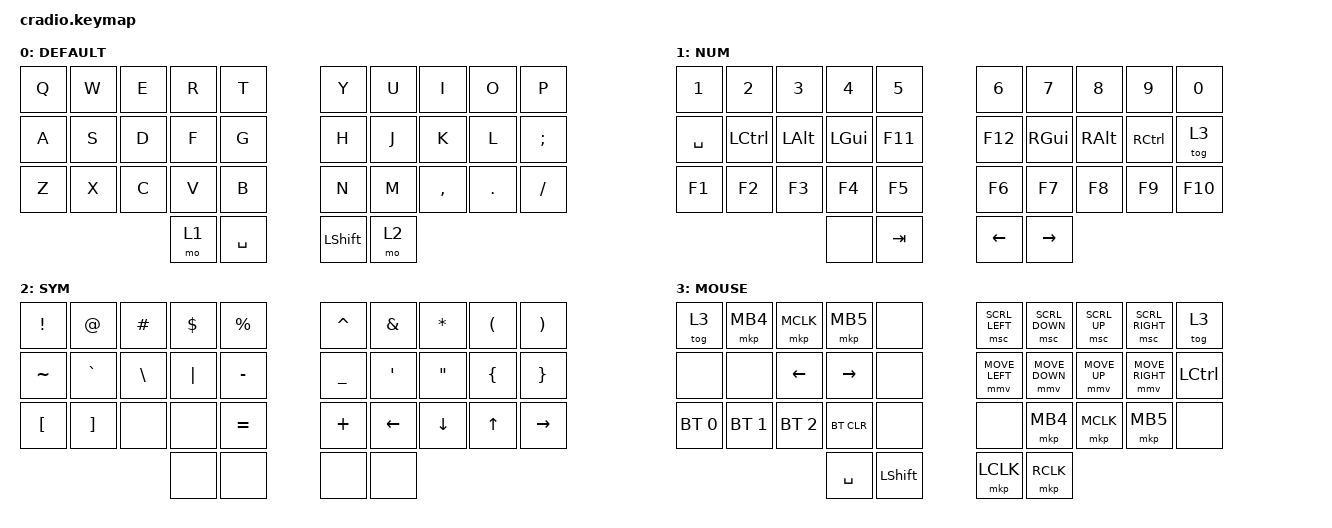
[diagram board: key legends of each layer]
// Copyright (c) 2022 The ZMK Contributors
// SPDX-License-Identifier: MIT

#define ZMK_POINTING_DEFAULT_MOVE_VAL 2500  // 600
#define ZMK_POINTING_DEFAULT_SCRL_VAL 20    // 10

#include "behaviors/character_map.dtsi"
#include "behaviors/send_string.dtsi"
#include "behaviors/report.dtsi"
#include <behaviors.dtsi>
#include <dt-bindings/zmk/bt.h>
#include <dt-bindings/zmk/keys.h>
#include <dt-bindings/zmk/pointing.h>

#define MAC 0
#define WIN 1
#define RIG 2
#define LEF 3
#define TRI 4
#define MOUSE 5

// https://zmk.dev/docs/development/hardware-integration/soft-off-setup?advanced-methods=wakeup&kscan-type=dkscan

/ {
    keys {
        compatible = "gpio-keys";

        soft_off_gpio_key: soft_off_gpio_key { gpios = <&gpio1 6 (GPIO_ACTIVE_LOW | GPIO_PULL_UP)>; };
    };

    wakeup_scan: wakeup_scan {
        compatible = "zmk,kscan-gpio-direct";
        input-keys = <&soft_off_gpio_key>;
        wakeup-source;
    };

    side_band_behavior_triggers: side_band_behavior_triggers {
        compatible = "zmk,kscan-sideband-behaviors";
        kscan = <&wakeup_scan>;
        auto-enable;
        wakeup-source;
    };

    soft_off_wakers {
        compatible = "zmk,soft-off-wakeup-sources";
        wakeup-sources = <&wakeup_scan>;
    };
};

/ {
    vbatt: vbatt { compatible = "zmk,battery-nrf-vddh"; };

    chosen {
        zmk,charmap = &charmap_us;
        zmk,battery = &vbatt;
    };

    behaviors {
        ht: hold_tap {
            display-name = "hold_tap";
            compatible = "zmk,behavior-hold-tap";
            #binding-cells = <2>;
            flavor = "balanced";
            tapping-term-ms = <200>;
            quick-tap-ms = <150>;
            bindings = <&kp>, <&kp>;
        };

        mmv {
            acceleration-exponent = <1>;      // 1
            time-to-max-speed-ms = <300>;    // 40
            delay-ms = <0>;                   // 0
        };

        msc {
            acceleration-exponent = <0>;      // 0
            time-to-max-speed-ms = <40>;      // 500
            delay-ms = <0>;                   // 10
        };
    };

    conditional_layers { compatible = "zmk,conditional-layers"; };

    combos {
        compatible = "zmk,combos";

        esc {
            bindings = <&kp ESCAPE>;
            key-positions = <22 23>;
            layers = <0>;
        };

        backspace {
            bindings = <&kp BACKSPACE>;
            key-positions = <7 6>;
            layers = <0>;
        };

        return {
            bindings = <&kp RETURN>;
            key-positions = <16 17>;
            layers = <0>;
        };

        delete {
            bindings = <&kp DELETE>;
            key-positions = <27 26>;
            layers = <0>;
        };

        yo {
            bindings = <&kp GRAVE>;
            key-positions = <3 2>;
            layers = <0>;
        };

        x {
            bindings = <&kp LEFT_BRACKET>;
            key-positions = <8 9>;
            layers = <0>;
        };

        hard {
            bindings = <&kp RIGHT_BRACKET>;
            key-positions = <28 29>;
            layers = <0>;
        };

        ie {
            bindings = <&kp SINGLE_QUOTE>;
            key-positions = <18 19>;
            layers = <0>;
        };
    };

    keymap {
        compatible = "zmk,keymap";

        default_layer {
            display-name = "DEFAULT";
            bindings = <
&kp Q  &kp W  &kp E  &kp R  &kp T        &kp Y           &kp U  &kp I      &kp O    &kp P
&kp A  &kp S  &kp D  &kp F  &kp G        &kp H           &kp J  &kp K      &kp L    &kp SEMI
&kp Z  &kp X  &kp C  &kp V  &kp B        &kp N           &kp M  &kp COMMA  &kp DOT  &kp SLASH
                     &mo 1  &kp SPACE    &kp LEFT_SHIFT  &mo 2
            >;
        };

        NUM {
            bindings = <
&kp N1     &kp N2     &kp N3    &kp N4    &kp N5     &kp N6    &kp N7     &kp N8    &kp N9     &kp N0
&kp SPACE  &kp LCTRL  &kp LALT  &kp LGUI  &kp F11    &kp F12   &kp RGUI   &kp RALT  &kp RCTRL  &tog 3
&kp F1     &kp F2     &kp F3    &kp F4    &kp F5     &kp F6    &kp F7     &kp F8    &kp F9     &kp F10
                                &none     &kp TAB    &kp LEFT  &kp RIGHT
            >;
        };

        SYM {
            bindings = <
&kp EXCL          &kp AT             &kp HASH       &kp DOLLAR  &kp PERCENT    &kp CARET  &kp AMPERSAND     &kp STAR           &kp LEFT_PARENTHESIS  &kp RIGHT_PARENTHESIS
&kp TILDE         &kp GRAVE          &kp BACKSLASH  &kp PIPE    &kp MINUS      &kp UNDER  &kp SINGLE_QUOTE  &kp DOUBLE_QUOTES  &kp LEFT_BRACE        &kp RIGHT_BRACE
&kp LEFT_BRACKET  &kp RIGHT_BRACKET  &none          &none       &kp EQUAL      &kp PLUS   &kp LEFT_ARROW    &kp DOWN_ARROW     &kp UP_ARROW          &kp RIGHT
                                                    &none       &none          &none      &none
            >;
        };

        mouse {
            display-name = "MOUSE";
            bindings = <
&tog 3        &mkp MB4      &mkp MCLK     &mkp MB5    &none         &msc SCRL_LEFT  &msc SCRL_DOWN  &msc SCRL_UP  &msc SCRL_RIGHT  &tog 3
&none         &none         &kp LEFT      &kp RIGHT   &none         &mmv MOVE_LEFT  &mmv MOVE_DOWN  &mmv MOVE_UP  &mmv MOVE_RIGHT  &kp LCTRL
&bt BT_SEL 0  &bt BT_SEL 1  &bt BT_SEL 2  &bt BT_CLR  &none         &none           &mkp MB4        &mkp MCLK     &mkp MB5         &none
                                          &kp SPACE   &kp LSHIFT    &mkp LCLK       &mkp RCLK
            >;
        };
    };
};
